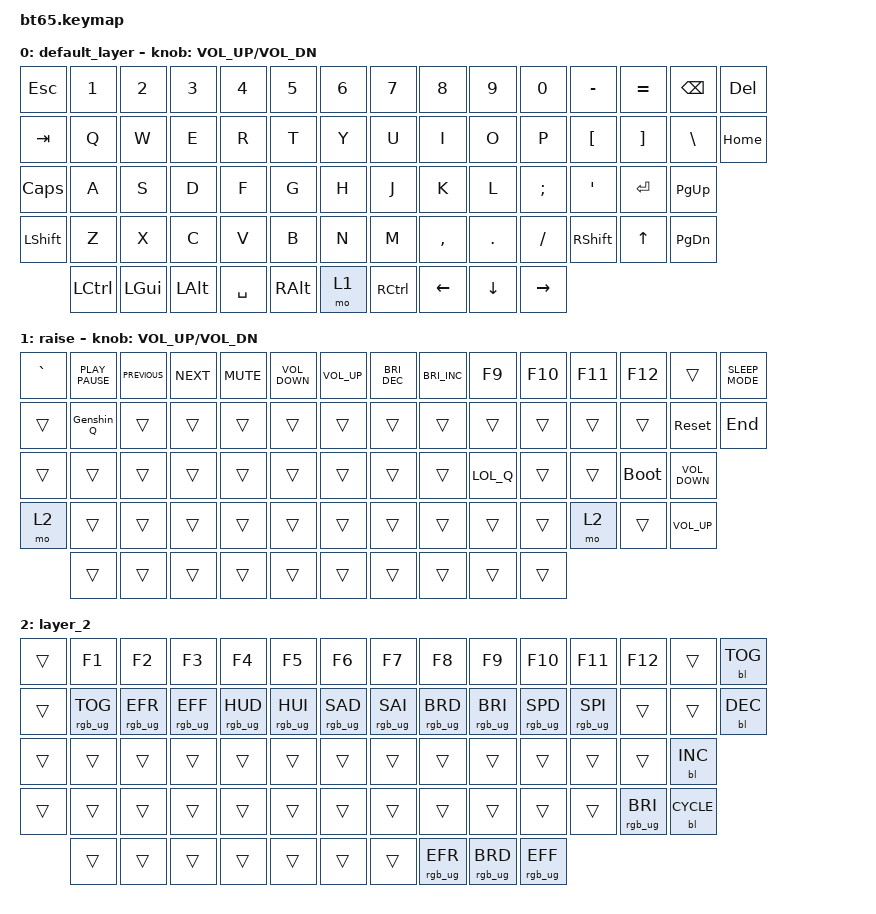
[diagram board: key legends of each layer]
#include <behaviors.dtsi>
#include <dt-bindings/zmk/backlight.h>
#include <dt-bindings/zmk/keys.h>
#include <dt-bindings/zmk/rgb.h>

/ {
    macros {
        LOL_Q: LOL_Q {
            compatible = "zmk,behavior-macro";
            #binding-cells = <0>;
            bindings = <&kp Z &kp Q &kp M &kp N8 &kp N2 &kp TAB &kp LS(F) &kp LS(H) &kp N3 &kp F &kp LS(G) &kp N4 &kp N4 &kp N5 &kp F &kp Z &kp Z &kp LS(S) &kp LS(U) &kp LS(Y) &kp N9>;
            label = "LOL_Q";
        };
        Genshin_Q: Genshin_Q {
            compatible = "zmk,behavior-macro";
            #binding-cells = <0>;
            bindings = <&kp Q &kp U &kp A &kp N &kp T &kp K &kp N2 &kp N7 &kp N7 &kp AT &kp G &kp M &kp A &kp I &kp L &kp DOT &kp C &kp O &kp M &kp TAB &kp LS(Q) &kp U &kp A &kp N &kp N1 &kp N2 &kp N3 &kp N4 &kp N5>;
            label = "GENSHIN_Q";
        };
    };

    keymap {
        compatible = "zmk,keymap";

        default_layer {
            // ------------------------------------------------------------------------------------------------------------
            // |  `  |  1  |  2  |  3  |  4  |  5  |  6  |  7  |  8  |  9  |  0  |  -  |  =  |BKSP | INS		|
            // | TAB  |  Q  |  W  |  E  |  R  |  T  |  Y  |  U  |  I  |  O  |  P  |  [  |  ]  |   \    | DEL		|
            // | CAPS  |  A  |  S  |  D  |  F  |  G  |  H  |  J  |  K  |  L  |  ;  |  '  |     ENTER    |PGUP	|
            // |  SHIFT  |  Z  |  X  |  C  |  V  |  B  |  N  |  M  |  ,  |  .  | /   |   SHIFT  | UP   | PGDN|
            // |  CTL  |  WIN  |  ALT  |            SPACE               | ALT | 1    |  MENU| LEFT |  DOWN    | RIGHT	|
            // ------------------------------------------------------------------------------------------------------------

            bindings = <
&kp ESC    &kp N1     &kp N2    &kp N3    &kp N4     &kp N5    &kp N6  &kp N7     &kp N8     &kp N9    &kp N0     &kp MINUS  &kp EQUAL  &kp BACKSPACE  &kp DEL
&kp TAB    &kp Q      &kp W     &kp E     &kp R      &kp T     &kp Y   &kp U      &kp I      &kp O     &kp P      &kp LBKT   &kp RBKT   &kp BSLH       &kp HOME
&kp CLCK   &kp A      &kp S     &kp D     &kp F      &kp G     &kp H   &kp J      &kp K      &kp L     &kp SEMI   &kp SQT    &kp RET    &kp PG_UP
&kp LSHFT  &kp Z      &kp X     &kp C     &kp V      &kp B     &kp N   &kp M      &kp COMMA  &kp DOT   &kp FSLH   &kp RSHFT  &kp UP     &kp PG_DN
           &kp LCTRL  &kp LGUI  &kp LALT  &kp SPACE  &kp RALT  &mo 1   &kp RCTRL  &kp LEFT   &kp DOWN  &kp RIGHT
            >;

            sensor-bindings = <&inc_dec_kp C_VOL_UP C_VOL_DN>;
        };

        raise {
            bindings = <
&kp GRAVE  &kp K_PLAY_PAUSE  &kp K_PREVIOUS  &kp K_NEXT  &kp K_MUTE  &kp C_VOLUME_DOWN  &kp C_VOLUME_UP  &kp C_BRIGHTNESS_DEC  &kp C_BRIGHTNESS_INC  &kp F9  &kp F10  &kp F11  &kp F12      &trans             &kp C_SLEEP_MODE
&trans     &Genshin_Q        &trans          &trans      &trans      &trans             &trans           &trans                &trans                &trans  &trans   &trans   &trans       &sys_reset         &kp END
&trans     &trans            &trans          &trans      &trans      &trans             &trans           &trans                &trans                &LOL_Q  &trans   &trans   &bootloader  &kp C_VOLUME_DOWN
&mo 2      &trans            &trans          &trans      &trans      &trans             &trans           &trans                &trans                &trans  &trans   &mo 2    &trans       &kp C_VOLUME_UP
           &trans            &trans          &trans      &trans      &trans             &trans           &trans                &trans                &trans  &trans
            >;

            sensor-bindings = <&inc_dec_kp C_VOL_UP C_VOL_DN>;
        };

        layer_2 {
            bindings = <
&trans  &kp F1           &kp F2           &kp F3           &kp F4           &kp F5           &kp F6           &kp F7           &kp F8           &kp F9           &kp F10          &kp F11          &kp F12          &trans        &bl BL_TOG
&trans  &rgb_ug RGB_TOG  &rgb_ug RGB_EFR  &rgb_ug RGB_EFF  &rgb_ug RGB_HUD  &rgb_ug RGB_HUI  &rgb_ug RGB_SAD  &rgb_ug RGB_SAI  &rgb_ug RGB_BRD  &rgb_ug RGB_BRI  &rgb_ug RGB_SPD  &rgb_ug RGB_SPI  &trans           &trans        &bl BL_DEC
&trans  &trans           &trans           &trans           &trans           &trans           &trans           &trans           &trans           &trans           &trans           &trans           &trans           &bl BL_INC
&trans  &trans           &trans           &trans           &trans           &trans           &trans           &trans           &trans           &trans           &trans           &trans           &rgb_ug RGB_BRI  &bl BL_CYCLE
        &trans           &trans           &trans           &trans           &trans           &trans           &trans           &rgb_ug RGB_EFR  &rgb_ug RGB_BRD  &rgb_ug RGB_EFF
            >;
        };
    };
};
